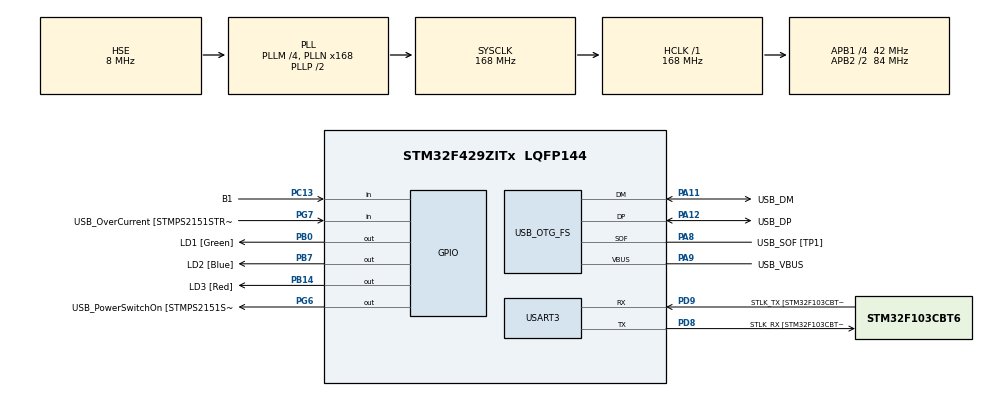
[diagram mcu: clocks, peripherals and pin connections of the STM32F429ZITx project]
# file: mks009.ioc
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Mcu.Family=STM32F4
Mcu.Name=STM32F429ZITx
Mcu.Package=LQFP144
NVIC.OTG_FS_IRQn=true\:0\:0\:false\:false\:true\:false\:true\:true
NVIC.PriorityGroup=NVIC_PRIORITYGROUP_4
PA1.GPIO_Label=RMII_REF_CLK [LAN8742A-CZ-TR_REFCLK0]
PA1.Signal=ETH_REF_CLK
PA10.GPIO_Label=USB_ID
PA10.Signal=USB_OTG_FS_ID
PA11.GPIO_Label=USB_DM
PA11.Mode=Device_Only
PA11.Signal=USB_OTG_FS_DM
PA12.GPIO_Label=USB_DP
PA12.Mode=Device_Only
PA12.Signal=USB_OTG_FS_DP
PA13.GPIO_Label=TMS
PA13.Mode=Serial_Wire
PA13.Signal=SYS_JTMS-SWDIO
PA14.GPIO_Label=TCK
PA14.Mode=Serial_Wire
PA14.Signal=SYS_JTCK-SWCLK
PA2.GPIO_Label=RMII_MDIO [LAN8742A-CZ-TR_MDIO]
PA2.Signal=ETH_MDIO
PA7.GPIO_Label=RMII_CRS_DV [LAN8742A-CZ-TR_CRS_DV]
PA7.Signal=ETH_CRS_DV
PA8.GPIO_Label=USB_SOF [TP1]
PA8.Mode=Activate_SOF_FS
PA8.Signal=USB_OTG_FS_SOF
PA9.GPIO_Label=USB_VBUS
PA9.Mode=Activate_VBUS
PA9.Signal=USB_OTG_FS_VBUS
PB0.GPIO_Label=LD1 [Green]
PB0.Signal=GPIO_Output
PB13.GPIO_Label=RMII_TXD1 [LAN8742A-CZ-TR_TXD1]
PB13.Signal=ETH_TXD1
PB14.GPIO_Label=LD3 [Red]
PB14.Signal=GPIO_Output
PB7.GPIO_Label=LD2 [Blue]
PB7.Signal=GPIO_Output
PC1.GPIO_Label=RMII_MDC [LAN8742A-CZ-TR_MDC]
PC1.Signal=ETH_MDC
PC13.GPIO_Label=B1
PC13.Signal=GPIO_Input
PC14/OSC32_IN.Mode=LSE-External-Oscillator
PC14/OSC32_IN.Signal=RCC_OSC32_IN
PC15/OSC32_OUT.Mode=LSE-External-Oscillator
PC15/OSC32_OUT.Signal=RCC_OSC32_OUT
PC4.GPIO_Label=RMII_RXD0 [LAN8742A-CZ-TR_RXD0]
PC4.Signal=ETH_RXD0
PC5.GPIO_Label=RMII_RXD1 [LAN8742A-CZ-TR_RXD1]
PC5.Signal=ETH_RXD1
PD8.GPIO_Label=STLK_RX [STM32F103CBT6_PA3]
PD8.Mode=Asynchronous
PD8.Signal=USART3_TX
PD9.GPIO_Label=STLK_TX [STM32F103CBT6_PA2]
PD9.Mode=Asynchronous
PD9.Signal=USART3_RX
PG11.GPIO_Label=RMII_TX_EN [LAN8742A-CZ-TR_TXEN]
PG11.Signal=ETH_TX_EN
PG13.GPIO_Label=RMII_TXD0 [LAN8742A-CZ-TR_TXD0]
PG13.Signal=ETH_TXD0
PG6.GPIO_Label=USB_PowerSwitchOn [STMPS2151STR_EN]
PG6.Signal=GPIO_Output
PG7.GPIO_Label=USB_OverCurrent [STMPS2151STR_FAULT]
PG7.Signal=GPIO_Input
PH0/OSC_IN.GPIO_Label=MCO [STM32F103CBT6_PA8]
PH0/OSC_IN.Mode=HSE-External-Clock-Source
PH0/OSC_IN.Signal=RCC_OSC_IN
PH1/OSC_OUT.Mode=HSE-External-Clock-Source
PH1/OSC_OUT.Signal=RCC_OSC_OUT
ProjectManager.HeapSize=0x200
ProjectManager.StackSize=0x400
ProjectManager.TargetToolchain=STM32CubeIDE
RCC.48MHZClocksFreq_Value=48000000
RCC.AHBFreq_Value=168000000
RCC.APB1CLKDivider=RCC_HCLK_DIV4
RCC.APB1Freq_Value=42000000
RCC.APB1TimFreq_Value=84000000
RCC.APB2CLKDivider=RCC_HCLK_DIV2
RCC.APB2Freq_Value=84000000
RCC.APB2TimCLKDivider=2
RCC.APB2TimFreq_Value=168000000
RCC.CortexFreq_Value=168000000
RCC.HCLKFreq_Value=168000000
RCC.HSE_VALUE=8000000
RCC.HSI_VALUE=16000000
RCC.PLLM=4
RCC.PLLMUL=RCC_PLL_MUL9
RCC.PLLN=168
RCC.PLLQ=7
RCC.PRESCALERUSB=RCC_USBCLKSOURCE_PLL_DIV1_5
RCC.SYSCLKFreq_VALUE=168000000
RCC.SYSCLKSource=RCC_SYSCLKSOURCE_PLLCLK
RCC.SYSCLKSourceVirtual=RCC_SYSCLKSOURCE_PLLCLK
RCC.USBFreq_Value=48000000
RCC.VCOOutputFreq_Value=336000000
USART3.VirtualMode=VM_ASYNC
USB_DEVICE.CLASS_NAME_FS=HID
USB_DEVICE.VirtualMode-HID_FS=Hid
USB_DEVICE.VirtualModeFS=Hid_FS
USB_OTG_FS.VirtualMode=Device_Only
VP_USB_DEVICE_VS_USB_DEVICE_HID_FS.Mode=HID_FS
board=NUCLEO-F429ZI

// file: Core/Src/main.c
/* USER CODE BEGIN Header */
/**
  ******************************************************************************
  * @file           : main.c
  * @brief          : Main program body
  ******************************************************************************
  * @attention
  *
  * Copyright (c) 2025 STMicroelectronics.
  * All rights reserved.
  *
  * This software is licensed under terms that can be found in the LICENSE file
  * in the root directory of this software component.
  * If no LICENSE file comes with this software, it is provided AS-IS.
  *
  ******************************************************************************
  */
/* USER CODE END Header */
#include "main.h"
#include "usb_device.h"

/* USER CODE BEGIN Includes */

#include "usbd_hid.h"
#include <math.h>
#include <stdbool.h>

/* USER CODE END Includes */

UART_HandleTypeDef huart3;

/* USER CODE BEGIN PV */
extern USBD_HandleTypeDef hUsbDeviceFS;
/* USER CODE END PV */

void SystemClock_Config(void);
static void MX_GPIO_Init(void);
static void MX_USART3_UART_Init(void);

/* USER CODE BEGIN 0 */

void step(int x, int y, bool btn) {
	uint8_t buff[4];
	buff[0] = (btn ? 0x01 : 0x00);
	buff[1] = (int8_t)x;
	buff[2] = (int8_t)y;
	buff[3] = 0;
	USBD_HID_SendReport(&hUsbDeviceFS, buff, sizeof(buff));
	HAL_Delay(USBD_HID_GetPollingInterval(&hUsbDeviceFS));
}

void circle(int radius, float start_angle, float sweep_angle)
{
    const int steps = 50;
    float two_pi = 2.0f * 3.14159265358979323846f;

    float start_rad = start_angle * (two_pi / 360.0f);
    float sweep_rad = sweep_angle * (two_pi / 360.0f);

    float fx0 = cosf(start_rad) * radius;
    float fy0 = sinf(start_rad) * radius;

    int prev_x = (int)roundf(fx0);
    int prev_y = (int)roundf(fy0);

    step(0, 0, true);

    for (int i = 1; i <= steps; ++i)
    {
        float phi = start_rad + (float)i * (sweep_rad / (float)steps);
        float fx = cosf(phi) * (float)radius;
        float fy = sinf(phi) * (float)radius;

        int ix = (int)roundf(fx);
        int iy = (int)roundf(fy);

        int dx = ix - prev_x;
        int dy = iy - prev_y;

        step(dx, dy, true);

        prev_x = ix;
        prev_y = iy;
    }
    step(0, 0, false);
}

/* USER CODE END 0 */

int main(void)
{

  /* MCU Configuration--------------------------------------------------------*/

  /* Reset of all peripherals, Initializes the Flash interface and the Systick. */
  HAL_Init();

  /* Configure the system clock */
  SystemClock_Config();

  /* Initialize all configured peripherals */
  MX_GPIO_Init();
  MX_USART3_UART_Init();
  MX_USB_DEVICE_Init();

  /* Infinite loop */
  while (1)
  {

    /* USER CODE BEGIN 3 */
	  if (HAL_GPIO_ReadPin(B1_GPIO_Port, B1_Pin) == GPIO_PIN_RESET)
	  {
	      HAL_Delay(30);

	      if (HAL_GPIO_ReadPin(B1_GPIO_Port, B1_Pin) == GPIO_PIN_RESET)
	      {
	    	  for(int i=0;i<10;i++) step(0,0,true);
	          for(int i=0;i<10;i++) step(5,0,true);
	          for(int i=0;i<10;i++) step(0,-11,true);
	          for(int i=0;i<10;i++) step(5,0,true);
	          step(0,0,false);

	          for(int i=0;i<10;i++) step(0,11,false);
	          for(int i=0;i<10;i++) step(0,-5,true);
	          for(int i=0;i<10;i++) step(-11,0,true);
	          for(int i=0;i<10;i++) step(0,-5,true);
	          step(0,0,false);

	          while (HAL_GPIO_ReadPin(B1_GPIO_Port, B1_Pin) == GPIO_PIN_RESET)
	              HAL_Delay(10);

	          HAL_Delay(200);
	      }
	  }
  }
  /* USER CODE END 3 */
}

void SystemClock_Config(void)
{
  RCC_OscInitTypeDef RCC_OscInitStruct = {0};
  RCC_ClkInitTypeDef RCC_ClkInitStruct = {0};

  /** Configure the main internal regulator output voltage
  */
  __HAL_RCC_PWR_CLK_ENABLE();
  __HAL_PWR_VOLTAGESCALING_CONFIG(PWR_REGULATOR_VOLTAGE_SCALE1);

  /** Initializes the RCC Oscillators according to the specified parameters
  * in the RCC_OscInitTypeDef structure.
  */
  RCC_OscInitStruct.OscillatorType = RCC_OSCILLATORTYPE_HSE;
  RCC_OscInitStruct.HSEState = RCC_HSE_BYPASS;
  RCC_OscInitStruct.PLL.PLLState = RCC_PLL_ON;
  RCC_OscInitStruct.PLL.PLLSource = RCC_PLLSOURCE_HSE;
  RCC_OscInitStruct.PLL.PLLM = 4;
  RCC_OscInitStruct.PLL.PLLN = 168;
  RCC_OscInitStruct.PLL.PLLP = RCC_PLLP_DIV2;
  RCC_OscInitStruct.PLL.PLLQ = 7;
  if (HAL_RCC_OscConfig(&RCC_OscInitStruct) != HAL_OK)
  {
    Error_Handler();
  }

  /** Initializes the CPU, AHB and APB buses clocks
  */
  RCC_ClkInitStruct.ClockType = RCC_CLOCKTYPE_HCLK|RCC_CLOCKTYPE_SYSCLK
                              |RCC_CLOCKTYPE_PCLK1|RCC_CLOCKTYPE_PCLK2;
  RCC_ClkInitStruct.SYSCLKSource = RCC_SYSCLKSOURCE_PLLCLK;
  RCC_ClkInitStruct.AHBCLKDivider = RCC_SYSCLK_DIV1;
  RCC_ClkInitStruct.APB1CLKDivider = RCC_HCLK_DIV4;
  RCC_ClkInitStruct.APB2CLKDivider = RCC_HCLK_DIV2;

  if (HAL_RCC_ClockConfig(&RCC_ClkInitStruct, FLASH_LATENCY_5) != HAL_OK)
  {
    Error_Handler();
  }
}

static void MX_USART3_UART_Init(void)
{

  huart3.Instance = USART3;
  huart3.Init.BaudRate = 115200;
  huart3.Init.WordLength = UART_WORDLENGTH_8B;
  huart3.Init.StopBits = UART_STOPBITS_1;
  huart3.Init.Parity = UART_PARITY_NONE;
  huart3.Init.Mode = UART_MODE_TX_RX;
  huart3.Init.HwFlowCtl = UART_HWCONTROL_NONE;
  huart3.Init.OverSampling = UART_OVERSAMPLING_16;
  if (HAL_UART_Init(&huart3) != HAL_OK)
  {
    Error_Handler();
  }

}

static void MX_GPIO_Init(void)
{
  GPIO_InitTypeDef GPIO_InitStruct = {0};

  /* GPIO Ports Clock Enable */
  __HAL_RCC_GPIOC_CLK_ENABLE();
  __HAL_RCC_GPIOH_CLK_ENABLE();
  __HAL_RCC_GPIOA_CLK_ENABLE();
  __HAL_RCC_GPIOB_CLK_ENABLE();
  __HAL_RCC_GPIOD_CLK_ENABLE();
  __HAL_RCC_GPIOG_CLK_ENABLE();

  /*Configure GPIO pin Output Level */
  HAL_GPIO_WritePin(GPIOB, LD1_Pin|LD3_Pin|LD2_Pin, GPIO_PIN_RESET);

  /*Configure GPIO pin Output Level */
  HAL_GPIO_WritePin(USB_PowerSwitchOn_GPIO_Port, USB_PowerSwitchOn_Pin, GPIO_PIN_RESET);

  /*Configure GPIO pin : B1_Pin */
  GPIO_InitStruct.Pin = B1_Pin;
  GPIO_InitStruct.Mode = GPIO_MODE_INPUT;
  GPIO_InitStruct.Pull = GPIO_NOPULL;
  HAL_GPIO_Init(B1_GPIO_Port, &GPIO_InitStruct);

  /*Configure GPIO pins : RMII_MDC_Pin RMII_RXD0_Pin RMII_RXD1_Pin */
  GPIO_InitStruct.Pin = RMII_MDC_Pin|RMII_RXD0_Pin|RMII_RXD1_Pin;
  GPIO_InitStruct.Mode = GPIO_MODE_AF_PP;
  GPIO_InitStruct.Pull = GPIO_NOPULL;
  GPIO_InitStruct.Speed = GPIO_SPEED_FREQ_VERY_HIGH;
  GPIO_InitStruct.Alternate = GPIO_AF11_ETH;
  HAL_GPIO_Init(GPIOC, &GPIO_InitStruct);

  /*Configure GPIO pins : RMII_REF_CLK_Pin RMII_MDIO_Pin RMII_CRS_DV_Pin */
  GPIO_InitStruct.Pin = RMII_REF_CLK_Pin|RMII_MDIO_Pin|RMII_CRS_DV_Pin;
  GPIO_InitStruct.Mode = GPIO_MODE_AF_PP;
  GPIO_InitStruct.Pull = GPIO_NOPULL;
  GPIO_InitStruct.Speed = GPIO_SPEED_FREQ_VERY_HIGH;
  GPIO_InitStruct.Alternate = GPIO_AF11_ETH;
  HAL_GPIO_Init(GPIOA, &GPIO_InitStruct);

  /*Configure GPIO pins : LD1_Pin LD3_Pin LD2_Pin */
  GPIO_InitStruct.Pin = LD1_Pin|LD3_Pin|LD2_Pin;
  GPIO_InitStruct.Mode = GPIO_MODE_OUTPUT_PP;
  GPIO_InitStruct.Pull = GPIO_NOPULL;
  GPIO_InitStruct.Speed = GPIO_SPEED_FREQ_LOW;
  HAL_GPIO_Init(GPIOB, &GPIO_InitStruct);

  /*Configure GPIO pin : RMII_TXD1_Pin */
  GPIO_InitStruct.Pin = RMII_TXD1_Pin;
  GPIO_InitStruct.Mode = GPIO_MODE_AF_PP;
  GPIO_InitStruct.Pull = GPIO_NOPULL;
  GPIO_InitStruct.Speed = GPIO_SPEED_FREQ_VERY_HIGH;
  GPIO_InitStruct.Alternate = GPIO_AF11_ETH;
  HAL_GPIO_Init(RMII_TXD1_GPIO_Port, &GPIO_InitStruct);

  /*Configure GPIO pin : USB_PowerSwitchOn_Pin */
  GPIO_InitStruct.Pin = USB_PowerSwitchOn_Pin;
  GPIO_InitStruct.Mode = GPIO_MODE_OUTPUT_PP;
  GPIO_InitStruct.Pull = GPIO_NOPULL;
  GPIO_InitStruct.Speed = GPIO_SPEED_FREQ_LOW;
  HAL_GPIO_Init(USB_PowerSwitchOn_GPIO_Port, &GPIO_InitStruct);

  /*Configure GPIO pin : USB_OverCurrent_Pin */
  GPIO_InitStruct.Pin = USB_OverCurrent_Pin;
  GPIO_InitStruct.Mode = GPIO_MODE_INPUT;
  GPIO_InitStruct.Pull = GPIO_NOPULL;
  HAL_GPIO_Init(USB_OverCurrent_GPIO_Port, &GPIO_InitStruct);

  /*Configure GPIO pins : RMII_TX_EN_Pin RMII_TXD0_Pin */
  GPIO_InitStruct.Pin = RMII_TX_EN_Pin|RMII_TXD0_Pin;
  GPIO_InitStruct.Mode = GPIO_MODE_AF_PP;
  GPIO_InitStruct.Pull = GPIO_NOPULL;
  GPIO_InitStruct.Speed = GPIO_SPEED_FREQ_VERY_HIGH;
  GPIO_InitStruct.Alternate = GPIO_AF11_ETH;
  HAL_GPIO_Init(GPIOG, &GPIO_InitStruct);

}

void Error_Handler(void)
{
  __disable_irq();
  while (1)
  {
  }
}
